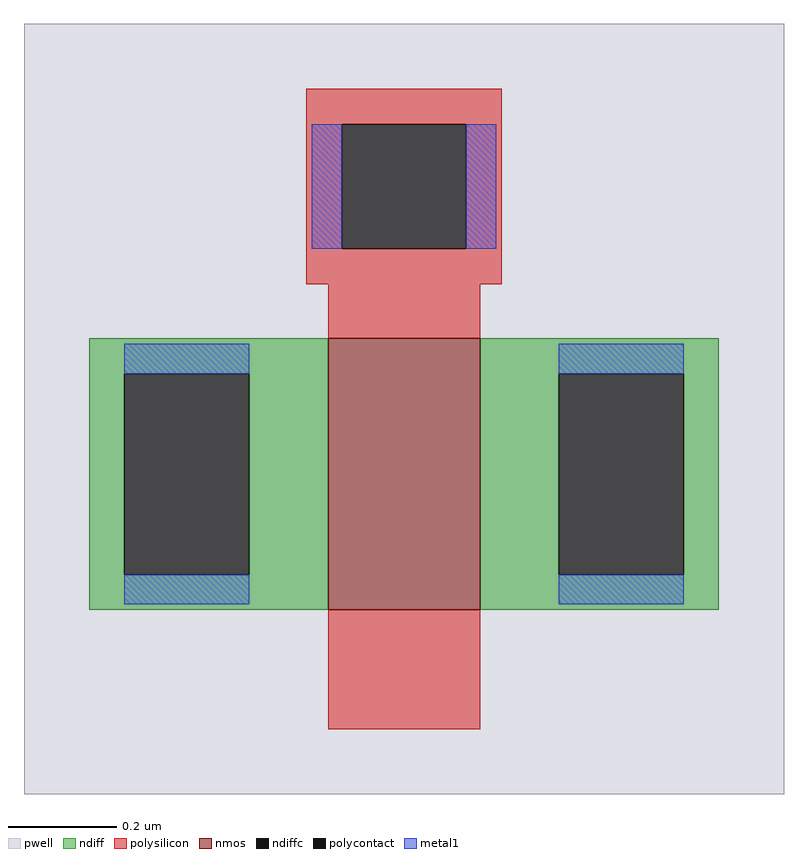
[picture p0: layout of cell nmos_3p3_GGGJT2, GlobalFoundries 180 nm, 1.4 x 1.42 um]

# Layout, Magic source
magic
tech gf180mcuC
magscale 1 10
<< pwell >>
rect -140 -142 140 142
<< nmos >>
rect -28 -74 28 26
<< ndiff >>
rect -116 13 -28 26
rect -116 -61 -103 13
rect -57 -61 -28 13
rect -116 -74 -28 -61
rect 28 13 116 26
rect 28 -61 57 13
rect 103 -61 116 13
rect 28 -74 116 -61
<< ndiffc >>
rect -103 -61 -57 13
rect 57 -61 103 13
<< polysilicon >>
rect -36 105 36 118
rect -36 59 -23 105
rect 23 59 36 105
rect -36 46 36 59
rect -28 26 28 46
rect -28 -118 28 -74
<< polycontact >>
rect -23 59 23 105
<< metal1 >>
rect -34 59 -23 105
rect 23 59 34 105
rect -103 13 -57 24
rect -103 -72 -57 -61
rect 57 13 103 24
rect 57 -72 103 -61
<< properties >>
string gencell nmos_3p3
string library gf180mcu
string parameters w 0.5 l 0.280 m 1 nf 1 diffcov 100 polycov 100 guard 0 glc 0 grc 0 gtc 0 gbc 0 tbcov 100 rlcov 100 topc 1 botc 0 poverlap 0 doverlap 1 lmin 0.28 wmin 0.22 full_metal 0 compatible {nmos_3p3 nmos_6p0 nmos_6p0_nat}
<< end >>
